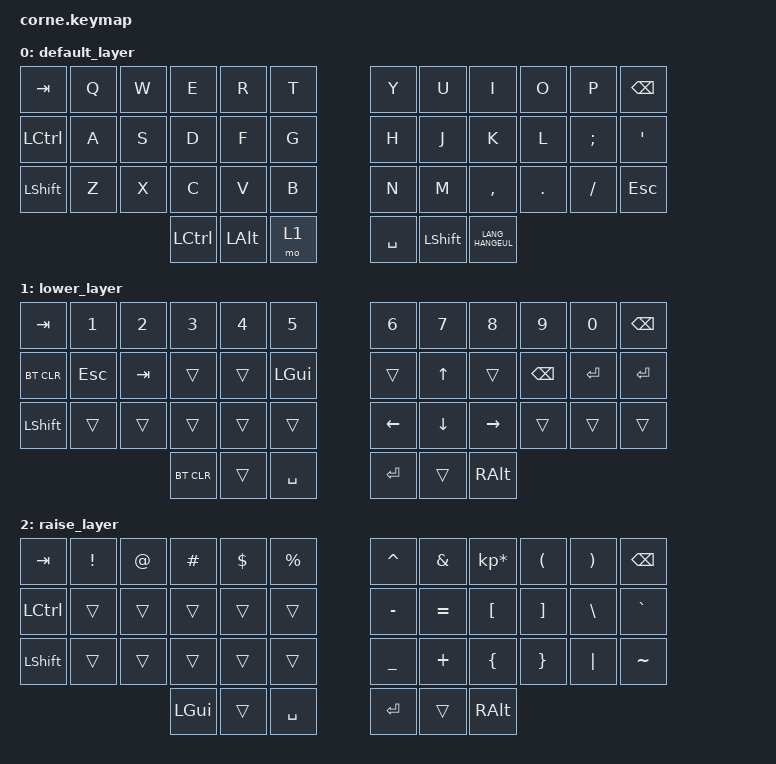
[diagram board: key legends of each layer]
/*
 * Copyright (c) 2020 The ZMK Contributors
 *
 * SPDX-License-Identifier: MIT
 */

#include <behaviors.dtsi>
#include <dt-bindings/zmk/keys.h>
#include <dt-bindings/zmk/bt.h>

/ {
        keymap {
                compatible = "zmk,keymap";

                default_layer {
// -----------------------------------------------------------------------------------------
// |  TAB |  Q  |  W  |  E  |  R  |  T  |   |  Y  |  U   |  I  |  O  |  P  | BKSP |
// | CTRL |  A  |  S  |  D  |  F  |  G  |   |  H  |  J   |  K  |  L  |  ;  |  '   |
// | SHFT |  Z  |  X  |  C  |  V  |  B  |   |  N  |  M   |  ,  |  .  |  /  | ESC  |
//                    |ctl  | alt | LWR |   | spa | RSE  | 한영|
                        bindings = <
   &kp TAB   &kp Q &kp W &kp E &kp R &kp T   &kp Y &kp U  &kp I     &kp O   &kp P    &kp BSPC
   &kp LCTRL &kp A &kp S &kp D &kp F &kp G   &kp H &kp J  &kp K     &kp L   &kp SEMI &kp SQT
   &kp LSHFT &kp Z &kp X &kp C &kp V &kp B   &kp N &kp M  &kp COMMA &kp DOT &kp FSLH &kp ESC
                  &kp LCTRL &kp LALT &mo 1   &kp SPACE &kp LSHFT &kp LANG_HANGEUL
                        >;
                };
                lower_layer {
// -----------------------------------------------------------------------------------------
// |  TAB |  1  |  2  |  3  |  4  |  5  |   |  6  |  7  |  8  |  9  |  0  | BKSP |
// | BTCLR| esc | TAB | BT3 | BT4 | GUI |   |     | UP  |     | bksp  | ent |   |
// | SHFT |     |     |     |     |     |   | LFT |DWN  | RGT |     |     |      |
//                    | BT4 |     | SPC |   | ENT |     | ALT |
                        bindings = <
   &kp TAB    &kp N1       &kp N2       &kp N3       &kp N4       &kp N5         &kp N6   &kp N7   &kp N8 &kp N9    &kp N0 &kp BSPC
   &bt BT_CLR &kp ESC &kp TAB &trans &trans &kp LGUI     &trans &kp UP &trans  &kp BSPC &kp RET &kp RET
   &kp LSHFT  &trans &trans &trans &trans &trans     &kp LEFT   &kp DOWN  &kp RIGHT &trans    &trans &trans
                                     &bt BT_CLR     &trans       &kp SPACE      &kp RET  &trans   &kp RALT
                        >;
                };

                raise_layer {
// -----------------------------------------------------------------------------------------
// |  TAB |  !  |  @  |  #  |  $  |  %  |   |  ^  |  &  |  *  |  (  |  )  | BKSP |
// | CTRL |     |     |     |     |     |   |  -  |  =  |  [  |  ]  |  \  |  `   |
// | SHFT |     |     |     |     |     |   |  _  |  +  |  {  |  }  | "|" |  ~   |
//                    | GUI |     | SPC |   | ENT |     | ALT |
                        bindings = <
   &kp  TAB  &kp EXCL &kp AT &kp HASH &kp DLLR &kp PRCNT   &kp CARET &kp AMPS  &kp KP_MULTIPLY &kp LPAR &kp RPAR &kp BSPC
   &kp LCTRL &trans   &trans &trans   &trans   &trans      &kp MINUS &kp EQUAL &kp LBKT        &kp RBKT &kp BSLH &kp GRAVE
   &kp LSHFT &trans   &trans &trans   &trans   &trans      &kp UNDER &kp PLUS  &kp LBRC        &kp RBRC &kp PIPE &kp TILDE
                             &kp LGUI &trans   &kp SPACE   &kp RET   &trans    &kp RALT
                        >;
                };
        };
};
